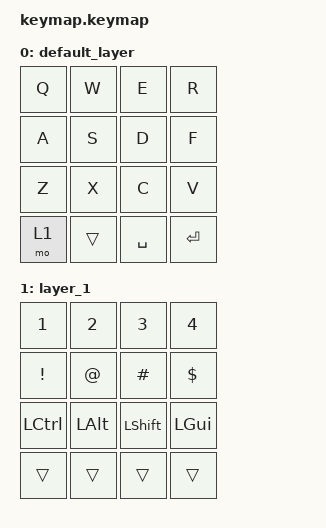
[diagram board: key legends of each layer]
keymap {
  compatible = "zmk,keymap";

  default_layer {
    bindings = <
      &kp Q &kp W &kp E &kp R
      &kp A &kp S &kp D &kp F
      &kp Z &kp X &kp C &kp V
      &mo 1 &trans &kp SPACE &kp ENTER
    >;
  };

  layer_1 {
    bindings = <
      &kp 1 &kp 2 &kp 3 &kp 4
      &kp EXCL &kp AT &kp HASH &kp DOLLAR
      &kp LCTRL &kp LALT &kp LSHFT &kp LGUI
      &trans &trans &trans &trans
    >;
  };
};
